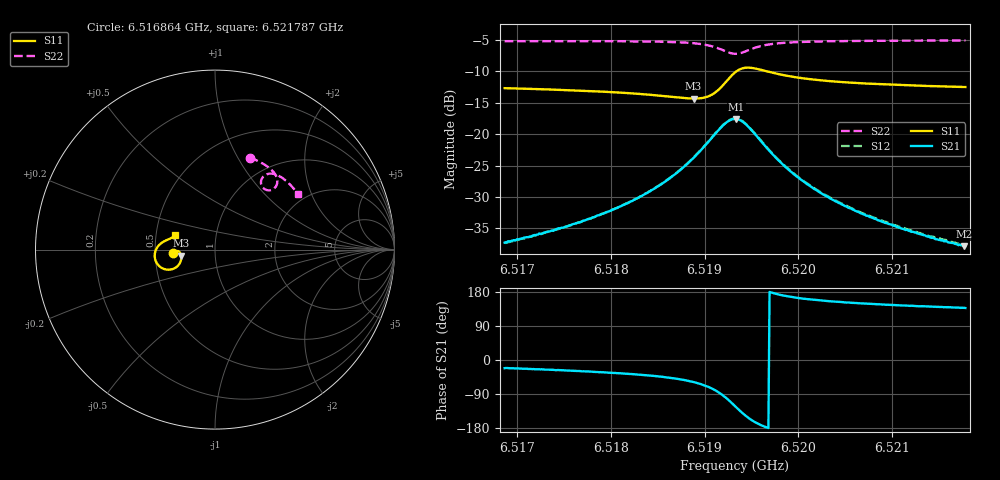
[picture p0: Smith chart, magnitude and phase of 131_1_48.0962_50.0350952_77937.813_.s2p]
#  HZ  S  RI  R  50.00
! Rohde & Schwarz Vector Network Analyzer
! Rohde-Schwarz,ZNB20-2Port,1311601062101988,3.16
! Created: UTC 12/23/2023, 3:47:45 AM
! freq[Hz]  re:S11  im:S11  re:S21  im:S21  re:S12  im:S12  re:S22  im:S22
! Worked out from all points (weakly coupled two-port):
!   401 points, 6.516864 GHz to 6.521787 GHz, reference 50 ohm
!   highest |S21| = -17.57 dB at 6.519338 GHz (marker M1); lowest = -37.8 dB at 6.521775 GHz (marker M2)
!   lowest |S11| = -14.3 dB at 6.518882 GHz (marker M3), VSWR 1.48, Z = 34 - j2.34 ohm
!   |S11| at or under -10 dB: start of sweep to 6.519341 GHz; 6.519664 GHz to end of sweep
!   |S22| runs from -7.2 to -5.1 dB; largest |S21 - S12| = 0.0041
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6.5168638e9  -0.2314 -0.0197  0.0128 -0.00505  0.0129 -0.00449  0.1935 0.5127
6.5173684e9  -0.2259 -0.0121  0.0154 -0.00749  0.0156 -0.00694  0.2308 0.4975
6.5176884e9  -0.2215 -0.00845  0.0175 -0.0101  0.0179 -0.00936  0.2546 0.4858
6.5181069e9  -0.2137 -0.00564  0.0218 -0.0155  0.0223 -0.0147  0.2859 0.4671
6.5185131e9  -0.2026 -0.00963  0.0283 -0.0268  0.0293 -0.0259  0.3172 0.4419
6.5186977e9  -0.1956 -0.017  0.0318 -0.0371  0.0332 -0.0362  0.3316 0.4253
6.5188823e9  -0.1891 -0.0331  0.0342 -0.055  0.0361 -0.0543  0.344 0.4019
6.5189931e9  -0.1883 -0.0508  0.0319 -0.0726  0.0342 -0.072  0.3473 0.3816
6.5190915e9  -0.1953 -0.0739  0.0218 -0.0936  0.0249 -0.0936  0.3432 0.3593
6.5192269e9  -0.2362 -0.1083  -0.0201 -0.1211  -0.0165 -0.1226  0.3122 0.3317
6.5193254e9  -0.2913 -0.105  -0.0694 -0.1124  -0.0667 -0.1155  0.2746 0.3382
6.5193377e9  -0.2981 -0.1015  -0.075 -0.1089  -0.0723 -0.1117  0.2707 0.3415
6.5194485e9  -0.3341 -0.0511  -0.1015 -0.0611  -0.1005 -0.0645  0.2564 0.3806
6.5195469e9  -0.332 -0.00892  -0.0952 -0.0254  -0.0952 -0.0283  0.27 0.4074
6.5196577e9  -0.3165 0.0196  -0.0789 -0.0036  -0.0794 -0.00588  0.2926 0.4208
6.5198915e9  -0.287 0.0441  -0.0516 0.011  -0.0523 0.00955  0.3309 0.421
6.52015e9  -0.2673 0.0537  -0.0352 0.0134  -0.036 0.0125  0.3594 0.4091
6.5205192e9  -0.2509 0.0608  -0.0233 0.0127  -0.0241 0.0122  0.3894 0.3885
6.5209746e9  -0.2384 0.0676  -0.0159 0.0109  -0.0164 0.0106  0.4185 0.3618
6.5214793e9  -0.2286 0.0746  -0.0112 0.00936  -0.0117 0.00923  0.4457 0.3311
6.5217747e9  -0.2238 0.0787  -0.00952 0.00865  -0.01 0.00863  0.4598 0.3127
6.521787e9  -0.2235 0.0789  -0.00945 0.00874  -0.00984 0.00851  0.4604 0.3118
